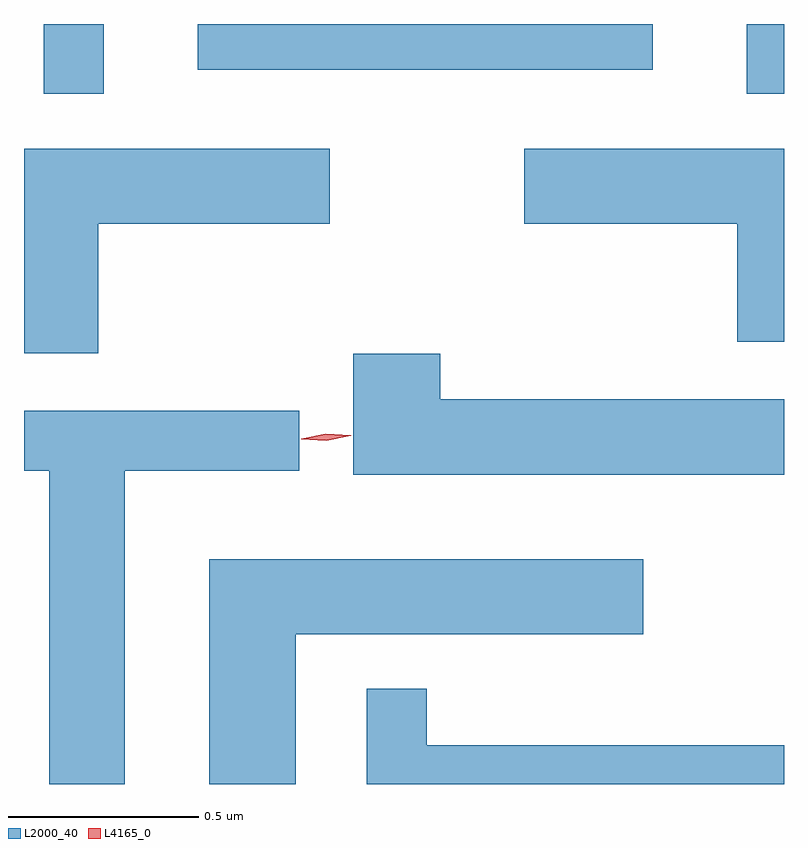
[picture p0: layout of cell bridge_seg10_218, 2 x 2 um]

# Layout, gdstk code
import gdstk
lib = gdstk.Library(unit=1e-6, precision=1e-09)
def R(c, l, rs):  # rectangles x0, y0, x1, y1
    for r in rs: c.add(gdstk.rectangle(r[:2], r[2:], *l))
def P(c, l, *ps):  # polygons
    for p in ps: c.add(gdstk.Polygon(p, *l))
L2000_40 = (2000, 40)
L4165_0 = (4165, 0)

bridge_seg10_218 = lib.new_cell('bridge_seg10_218')
R(bridge_seg10_218, L2000_40, [(1793.251,2128.823,1793.409,2129.007), (1795.101,2128.823,1795.199,2129.007), (1793.656,2128.886,1794.854,2129.007)])
P(bridge_seg10_218, L2000_40, [(1795.199,2128.679),(1794.516,2128.679),(1794.516,2128.481),(1795.076,2128.481),(1795.076,2128.171),(1795.199,2128.171)],
  [(1793.394,2128.481),(1794.004,2128.481),(1794.004,2128.679),(1793.199,2128.679),(1793.199,2128.141),(1793.394,2128.141)],
  [(1795.199,2128.019),(1794.294,2128.019),(1794.294,2128.139),(1794.066,2128.139),(1794.066,2127.821),(1795.199,2127.821)],
  [(1793.464,2127.831),(1793.923,2127.831),(1793.923,2127.989),(1793.199,2127.989),(1793.199,2127.831),(1793.266,2127.831),(1793.266,2127.007),(1793.464,2127.007)],
  [(1793.914,2127.401),(1794.829,2127.401),(1794.829,2127.599),(1793.686,2127.599),(1793.686,2127.007),(1793.914,2127.007)],
  [(1795.199,2127.109),(1794.259,2127.109),(1794.259,2127.258),(1794.101,2127.258),(1794.101,2127.007),(1795.199,2127.007)])
P(bridge_seg10_218, L4165_0, [(1793.995,2127.91),(1793.928,2127.914),(1793.928,2127.914),(1793.928,2127.915),(1793.993,2127.929),(1794.059,2127.925),(1794.06,2127.924),(1794.059,2127.924)])

lib.write_gds('bridge_seg10_218.gds')
